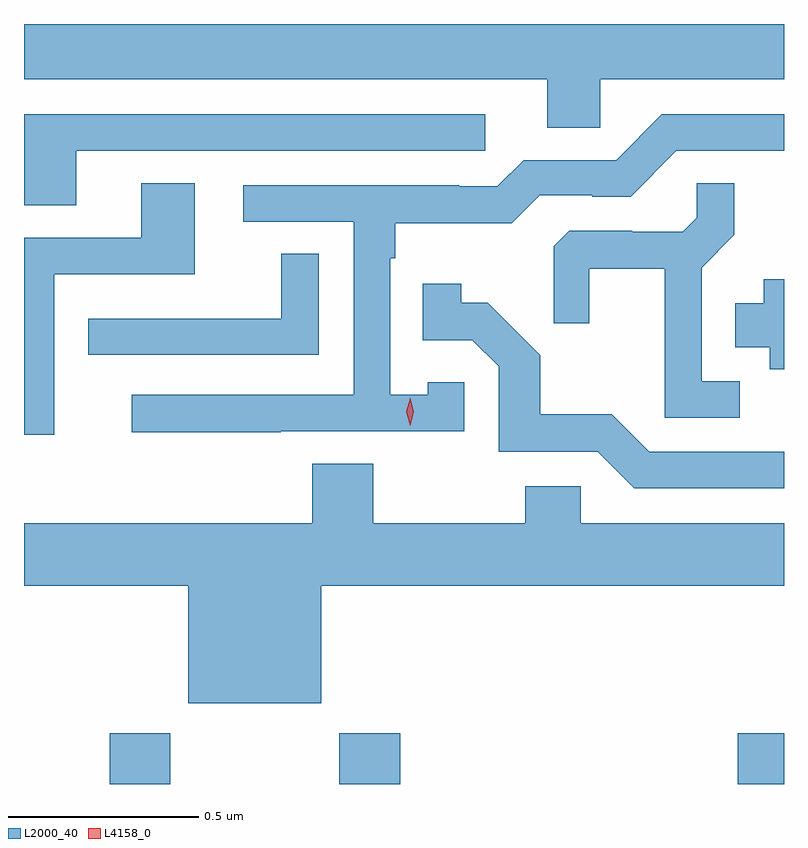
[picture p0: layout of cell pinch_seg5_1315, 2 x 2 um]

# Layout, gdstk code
import gdstk
lib = gdstk.Library(unit=1e-6, precision=1e-09)
def R(c, l, rs):  # rectangles x0, y0, x1, y1
    for r in rs: c.add(gdstk.rectangle(r[:2], r[2:], *l))
def P(c, l, *ps):  # polygons
    for p in ps: c.add(gdstk.Polygon(p, *l))
L2000_40 = (2000, 40)
L4158_0 = (4158, 0)

pinch_seg5_1315 = lib.new_cell('pinch_seg5_1315')
R(pinch_seg5_1315, L2000_40, [(449.981,848.246,450.141,848.38), (450.586,848.246,450.746,848.38), (451.634,848.246,451.756,848.379)])
P(pinch_seg5_1315, L2000_40, [(451.272,850.1),(451.756,850.1),(451.756,850.246),(449.756,850.246),(449.756,850.1),(451.133,850.1),(451.133,849.973),(451.272,849.973)],
  [(449.893,849.912),(450.97,849.912),(450.97,850.008),(449.756,850.008),(449.756,849.769),(449.893,849.769)],
  [(450.431,849.174),(450.915,849.174),(450.915,849.303),(450.819,849.303),(450.819,849.271),(450.72,849.271),(450.72,849.629),(450.733,849.629),(450.733,849.722),(451.04,849.722),(451.113,849.795),(451.252,849.795),(451.252,849.792),(451.353,849.792),(451.473,849.912),(451.756,849.912),(451.756,850.008),(451.434,850.008),(451.314,849.888),(451.071,849.888),(451.002,849.819),(450.902,849.819),(450.902,849.822),(450.333,849.822),(450.333,849.726),(450.624,849.726),(450.624,849.27),(450.039,849.27),(450.039,849.172),(450.431,849.172)],
  [(449.835,849.588),(450.205,849.588),(450.205,849.827),(450.065,849.827),(450.065,849.684),(449.756,849.684),(449.756,849.165),(449.835,849.165)],
  [(451.639,849.306),(451.539,849.306),(451.539,849.605),(451.625,849.691),(451.625,849.827),(451.527,849.827),(451.527,849.736),(451.49,849.699),(451.356,849.699),(451.356,849.702),(451.191,849.702),(451.15,849.661),(451.15,849.459),(451.244,849.459),(451.244,849.602),(451.442,849.602),(451.442,849.21),(451.639,849.21)],
  [(450.531,849.641),(450.433,849.641),(450.433,849.471),(450.037,849.471),(450.037,849.47),(449.925,849.47),(449.925,849.375),(450.531,849.375)],
  [(451.756,849.574),(451.703,849.574),(451.703,849.511),(451.628,849.511),(451.628,849.395),(451.718,849.395),(451.718,849.338),(451.756,849.338)],
  [(451.756,849.12),(451.401,849.12),(451.303,849.219),(451.114,849.219),(451.114,849.374),(450.976,849.512),(450.906,849.512),(450.906,849.562),(450.805,849.562),(450.805,849.414),(450.936,849.414),(451.005,849.345),(451.005,849.12),(451.266,849.12),(451.362,849.024),(451.756,849.024)],
  [(450.538,848.768),(451.756,848.768),(451.756,848.932),(451.221,848.932),(451.221,849.03),(451.075,849.03),(451.075,848.932),(450.675,848.932),(450.675,849.089),(450.515,849.089),(450.515,848.932),(449.756,848.932),(449.756,848.768),(450.188,848.768),(450.188,848.459),(450.538,848.459)])
P(pinch_seg5_1315, L4158_0, [(450.772,849.189),(450.772,849.189),(450.762,849.225),(450.772,849.261),(450.772,849.262),(450.772,849.261),(450.782,849.225),(450.772,849.189)])

lib.write_gds('pinch_seg5_1315.gds')
